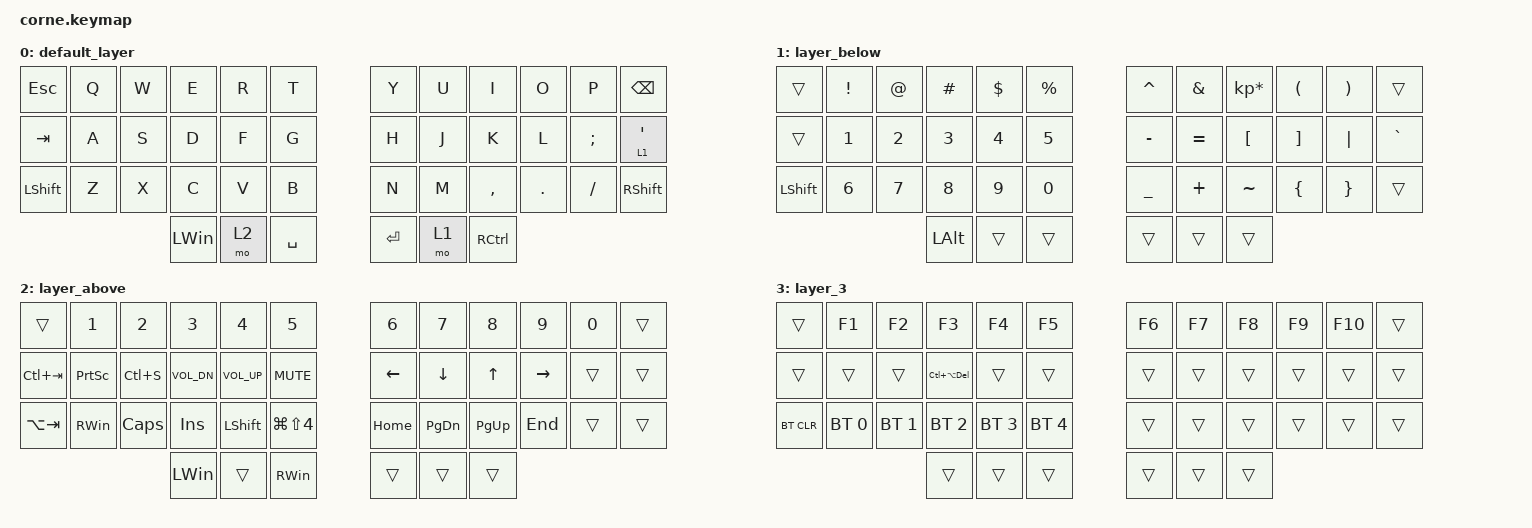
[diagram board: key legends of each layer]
/*
 * Copyright (c) 2020 The ZMK Contributors
 *
 * SPDX-License-Identifier: MIT
 */

#include <behaviors.dtsi>
#include <dt-bindings/zmk/bt.h>
#include <dt-bindings/zmk/keys.h>

/ {
    behaviors {
        tp: tap_preferred {
            compatible = "zmk,behavior-hold-tap";
            label = "TAP_PREFERRED";
            #binding-cells = <2>;
            tapping-term-ms = <150>;
            quick-tap-ms = <0>;
            flavor = "tap-preferred";
            bindings = <&kp>, <&kp>;
        };
    };

    combos {
        compatible = "zmk,combos";

        lwin {
            bindings = <&kp LWIN>;
            key-positions = <15 16>;
            timeout-ms = <30>;
        };

        rwin {
            bindings = <&kp RWIN>;
            key-positions = <19 20>;
            timeout-ms = <30>;
        };

        third_layer {
            bindings = <&mo 3>;
            key-positions = <37 40>;
        };
    };

    keymap {
        compatible = "zmk,keymap";

        default_layer {
            // -----------------------------------------------------------------------------------------
            // | TAB  |  Q  |  W  |  E  |  R  |    T    |   |  Y  |  U   |  I  |  O  |  P  | ESC |
            // | CTRL |  A  |  S  |  D  |  F  |    G    |   |  H  |  J   |  K  |  L  |  ;  |  LWR/'   |
            // | SHFT |  Z  |  X  |  C  |  V  |    B    |   |  N  |  M   |  ,  |  .  |  /  | SHFT |
            //                    | GUI | LWR | ALT/ENT |   | HYPER/SPC | BKSP  | RSE |

            bindings = <
&kp ESCAPE  &kp Q  &kp W  &kp E         &kp R  &kp T        &kp Y      &kp U  &kp I      &kp O    &kp P     &kp BSPC
&kp TAB     &kp A  &kp S  &kp D         &kp F  &kp G        &kp H      &kp J  &kp K      &kp L    &kp SEMI  &lt 1 SQT
&kp LSHFT   &kp Z  &kp X  &kp C         &kp V  &kp B        &kp N      &kp M  &kp COMMA  &kp DOT  &kp FSLH  &kp RIGHT_SHIFT
                          &kp LEFT_WIN  &mo 2  &kp SPACE    &kp ENTER  &mo 1  &kp RCTRL
            >;
        };

        layer_below {
            // -----------------------------------------------------------------------------------------
            // |      |  !  |  @  |  #  |  $  |    %     |   |  ^  |  &  |  *  |  (  |  )  |   \   |
            // |      |  1  |  2  |  3  |  4  |    5     |   |  -  |  =  |  `  |  [  |  ]  |  "|"  |
            // | SHFT |  6  |  7  |  8  |  9  |    0     |   |  _  |  +  |  ~  |  {  |  }  | RSHFT |
            //                     | GUI |     | ALT/ENT |   | HYPER/SPACE | BKSP |    |

            bindings = <
&trans     &kp EXCL  &kp AT  &kp HASH      &kp DLLR  &kp PRCNT    &kp CARET  &kp AMPS   &kp KP_MULTIPLY   &kp LPAR           &kp RPAR  &trans
&trans     &kp N1    &kp N2  &kp N3        &kp N4    &kp N5       &kp MINUS  &kp EQUAL  &kp LEFT_BRACKET  &kp RIGHT_BRACKET  &kp PIPE  &kp GRAVE
&kp LSHFT  &kp N6    &kp N7  &kp N8        &kp N9    &kp N0       &kp UNDER  &kp PLUS   &kp TILDE         &kp LBRC           &kp RBRC  &trans
                             &kp LEFT_ALT  &trans    &trans       &trans     &trans     &trans
            >;
        };

        layer_above {
            // -----------------------------------------------------------------------------------------
            // |       |  F1  |  F2  |  F3  |  F4  |  F5 |            |  F6  |  F7  |  F8  |  F9  |  F10  |   |
            // |       | Prev | Next | Vol - | Vol + | Play/Pause |   |      | LFT | DWN |  UP | RGT |     |     |
            // | BTCLR | BT1 | BT2 | BT3 | BT4 | BT5 |   |            |     |     |     |     |     |     |
            //                    |     |     |    |                  |     |     |     |

            bindings = <
&trans       &kp NUMBER_1     &kp NUMBER_2  &kp NUMBER_3  &kp NUMBER_4    &kp NUMBER_5            &kp NUMBER_6  &kp NUMBER_7   &kp NUMBER_8  &kp NUMBER_9  &kp NUMBER_0  &trans
&kp LC(TAB)  &kp PRINTSCREEN  &kp LC(S)     &kp C_VOL_DN  &kp C_VOL_UP    &kp K_MUTE              &kp LEFT      &kp DOWN       &kp UP        &kp RIGHT     &trans        &trans
&kp LA(TAB)  &kp RIGHT_WIN    &kp CAPS      &kp INSERT    &kp LEFT_SHIFT  &kp LG(LS(NUMBER_4))    &kp HOME      &kp PAGE_DOWN  &kp PAGE_UP   &kp END       &trans        &trans
                                            &kp LEFT_WIN  &trans          &kp RIGHT_WIN           &trans        &trans         &trans
            >;
        };

        layer_3 {
            bindings = <
&trans      &kp F1        &kp F2        &kp F3           &kp F4        &kp F5          &kp F6  &kp F7  &kp F8  &kp F9  &kp F10  &trans
&trans      &trans        &trans        &kp LC(LA(DEL))  &trans        &trans          &trans  &trans  &trans  &trans  &trans   &trans
&bt BT_CLR  &bt BT_SEL 0  &bt BT_SEL 1  &bt BT_SEL 2     &bt BT_SEL 3  &bt BT_SEL 4    &trans  &trans  &trans  &trans  &trans   &trans
                                        &trans           &trans        &trans          &trans  &trans  &trans
            >;
        };
    };
};
